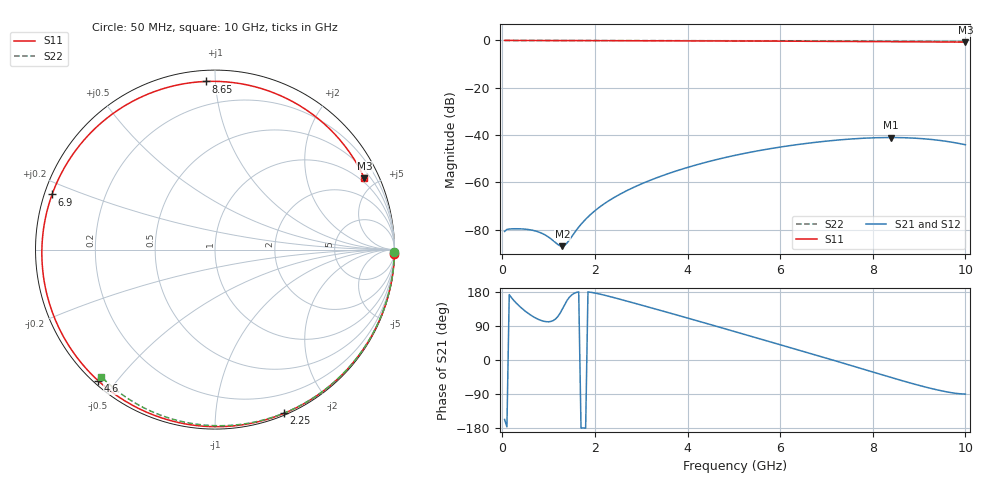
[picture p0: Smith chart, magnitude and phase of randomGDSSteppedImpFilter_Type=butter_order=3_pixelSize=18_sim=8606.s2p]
! freq	dB(S11)	phase(S11)	dB(S12)	phase(S12)
!  dB(S21)	phase(S21)	dB(S22)	phase(S22)
!S-par simulation data
#  GHz  S  DB  R 50
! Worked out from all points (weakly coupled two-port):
!   200 points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, 50 MHz to 10 GHz, reference 50 ohm
!   highest |S21| = -41.01 dB at 8.4 GHz (marker M1); lowest = -86.9 dB at 1.3 GHz (marker M2)
!   lowest |S11| = -0.7 dB at 10 GHz (marker M3), VSWR 24.76, Z = 40 + j213 ohm
!   |S11| at or under -10 dB: nowhere
!   |S22| runs from -0.4 to 0.0 dB; largest |S21 - S12| = 0
!   S11 on the Smith chart (normalised r, x): 50 MHz: 0, -74; 2.25 GHz: 0.02, -1.51; 4.6 GHz: 0.01, -0.45; 6.9 GHz: 0.02, +0.16; 8.65 GHz: 0.06, +0.95; 10 GHz: 0.80, +4.26
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0.05  -0.00 -1.5  -80.68 -157.0  -80.68 -157.0  -0.00 -0.8
0.65  -0.02 -19.9  -80.18 115.7  -80.18 115.7  -0.01 -9.9
1.3  -0.05 -39.5  -86.91 135.2  -86.91 135.2  -0.02 -19.6
1.6  -0.06 -48.3  -80.13 178.3  -80.13 178.3  -0.03 -24.1
1.75  -0.07 -52.7  -76.57 -179.4  -76.57 -179.4  -0.03 -26.3
2.25  -0.08 -67.1  -68.35 169.7  -68.35 169.7  -0.04 -33.6
2.75  -0.10 -81.2  -62.86 153.4  -62.86 153.4  -0.05 -40.8
3.4  -0.13 -99.2  -57.53 131.4  -57.53 131.4  -0.07 -50.0
4  -0.16 -115.4  -53.65 110.8  -53.65 110.8  -0.08 -58.3
4.6  -0.19 -131.6  -50.45 89.8  -50.45 89.8  -0.10 -66.4
5.05  -0.22 -143.9  -48.43 73.9  -48.43 73.9  -0.11 -72.4
5.9  -0.28 -167.8  -45.35 43.8  -45.35 43.8  -0.14 -83.3
6.7  -0.35 167.8  -43.18 15.5  -43.18 15.5  -0.18 -93.3
6.9  -0.37 161.3  -42.74 8.3  -42.74 8.3  -0.19 -95.7
7.6  -0.44 136.7  -41.53 -17.0  -41.53 -17.0  -0.23 -104.1
8.35  -0.52 106.5  -41.01 -44.4  -41.01 -44.4  -0.29 -112.9
8.4  -0.53 104.3  -41.01 -46.2  -41.01 -46.2  -0.29 -113.5
8.65  -0.55 93.1  -41.08 -55.1  -41.08 -55.1  -0.31 -116.4
9  -0.59 76.6  -41.40 -67.0  -41.40 -67.0  -0.34 -120.4
9.3  -0.62 61.8  -41.90 -76.3  -41.90 -76.3  -0.37 -123.9
9.65  -0.66 43.9  -42.79 -85.3  -42.79 -85.3  -0.41 -127.8
10  -0.70 25.6  -44.06 -89.9  -44.06 -89.9  -0.45 -131.8
